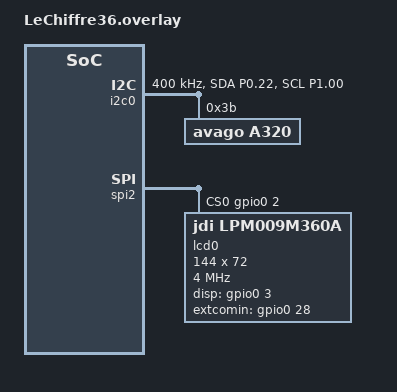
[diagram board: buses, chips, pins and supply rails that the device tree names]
&i2c0 {
    a320@3b {
        compatible = "avago,a320";
        status = "okay";
        reg = <0x3B>;
    };
    
	label = "I2C_0";
	compatible = "nordic,nrf-twim";
	status = "okay";
	clock-frequency = <I2C_BITRATE_FAST>; 
	pinctrl-0 = <&i2c0_default>;
	pinctrl-1 = <&i2c0_sleep>;
	pinctrl-names = "default", "sleep";
};

&spi2 {
	cs-gpios = <&gpio0 2 (GPIO_ACTIVE_HIGH | GPIO_PULL_DOWN)>;
	status = "okay";
	lcd0: lcd@0 {
		compatible = "jdi,lpm009m360a";
		reg = <0>;
		status = "okay";
		spi-max-frequency = <4000000>;
		disp_gpios = <&gpio0 3 GPIO_ACTIVE_HIGH>;
		extcomin_gpios = <&gpio0 28 GPIO_ACTIVE_HIGH>;
		width = <144>;
		height = <72>;
        color_mode = [02];
		reverse = <1>;
		rotation = <1>;
	};
};


&pinctrl {
    i2c0_default: i2c0_default {
		group1 {
			psels = <NRF_PSEL(TWIM_SDA, 0, 22)>,
				<NRF_PSEL(TWIM_SCL, 1, 00)>;
			bias-pull-up;
		};
	};
	i2c0_sleep: i2c0_sleep {
		group1 {
			psels = <NRF_PSEL(TWIM_SDA, 0, 22)>,
				<NRF_PSEL(TWIM_SCL, 1, 00)>;
			low-power-enable;
			bias-pull-up;
		};
	};
    spi2_default: spi2_default {
            group1 {
                psels = <NRF_PSEL(SPIM_MOSI, 0, 6)>,
                		<NRF_PSEL(SPIM_MISO, 0, 5)>,
                		<NRF_PSEL(SPIM_SCK, 0, 4)>;
        };
    };

    spi2_sleep: spi2_sleep {
            group1 {
                psels = <NRF_PSEL(SPIM_MOSI, 0, 6)>,
                		<NRF_PSEL(SPIM_MISO, 0, 5)>,
                		<NRF_PSEL(SPIM_SCK, 0, 4)>;
                low-power-enable;
        };
    };
};

/{
	chosen {
		zephyr,display = &lcd0;
	};
};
